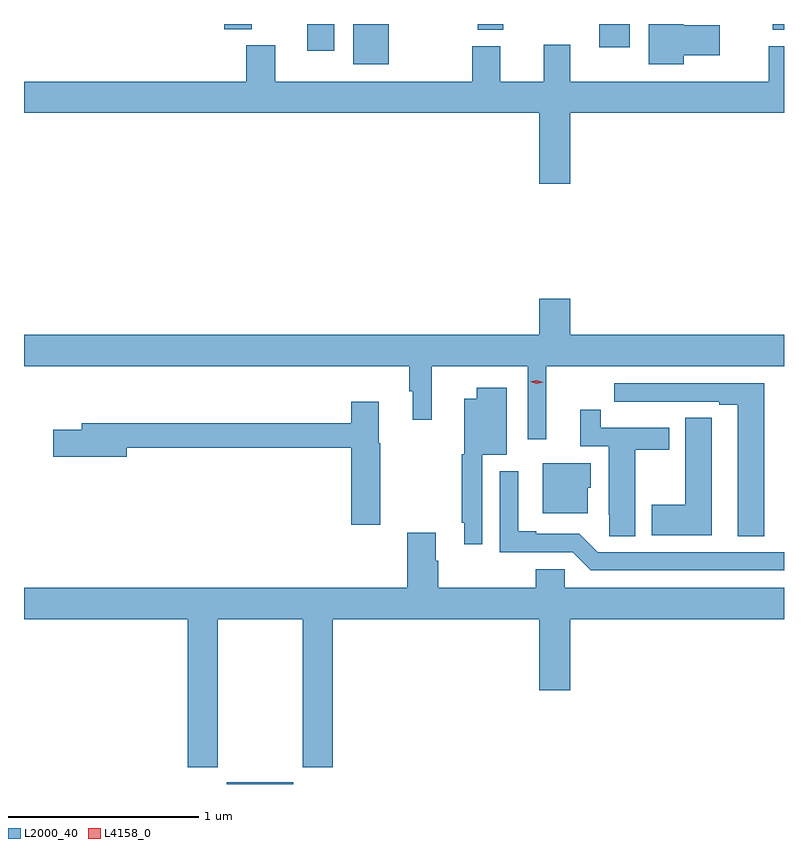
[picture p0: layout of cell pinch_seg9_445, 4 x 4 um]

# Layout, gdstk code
import gdstk
lib = gdstk.Library(unit=1e-6, precision=1e-09)
def R(c, l, rs):  # rectangles x0, y0, x1, y1
    for r in rs: c.add(gdstk.rectangle(r[:2], r[2:], *l))
def P(c, l, *ps):  # polygons
    for p in ps: c.add(gdstk.Polygon(p, *l))
L2000_40 = (2000, 40)
L4158_0 = (4158, 0)

pinch_seg9_445 = lib.new_cell('pinch_seg9_445')
R(pinch_seg9_445, L2000_40, [(151.376,1203.544,151.726,1203.553), (152.042,1207.331,152.227,1207.544), (151.799,1207.404,151.942,1207.544), (153.335,1207.422,153.496,1207.544), (152.696,1207.513,152.83,1207.544), (154.25,1207.513,154.308,1207.544), (151.361,1207.517,151.506,1207.544)])
P(pinch_seg9_445, L2000_40, [(153.781,1207.379),(153.97,1207.379),(153.97,1207.537),(153.781,1207.537),(153.781,1207.544),(153.596,1207.544),(153.596,1207.331),(153.781,1207.331)],
  [(153.184,1207.076),(154.308,1207.076),(154.308,1207.428),(154.229,1207.428),(154.229,1207.24),(153.184,1207.24),(153.184,1207.435),(153.044,1207.435),(153.044,1207.24),(152.815,1207.24),(152.815,1207.428),(152.668,1207.428),(152.668,1207.24),(151.63,1207.24),(151.63,1207.432),(151.478,1207.432),(151.478,1207.24),(150.308,1207.24),(150.308,1207.076),(153.02,1207.076),(153.02,1206.702),(153.184,1206.702)],
  [(153.056,1205.744),(154.308,1205.744),(154.308,1205.908),(153.184,1205.908),(153.184,1206.097),(153.02,1206.097),(153.02,1205.908),(150.308,1205.908),(150.308,1205.744),(152.335,1205.744),(152.335,1205.61),(152.354,1205.61),(152.354,1205.46),(152.454,1205.46),(152.454,1205.744),(152.958,1205.744),(152.958,1205.358),(153.056,1205.358)],
  [(154.204,1205.652),(153.414,1205.652),(153.414,1205.556),(153.526,1205.556),(153.526,1205.555),(153.692,1205.555),(153.692,1205.556),(153.968,1205.556),(153.968,1205.541),(154.064,1205.541),(154.064,1204.849),(154.204,1204.849)],
  [(152.721,1205.276),(152.848,1205.276),(152.848,1205.629),(152.69,1205.629),(152.69,1205.572),(152.624,1205.572),(152.624,1205.28),(152.613,1205.28),(152.613,1204.918),(152.624,1204.918),(152.624,1204.806),(152.721,1204.806)],
  [(152.184,1205.337),(152.176,1205.337),(152.176,1205.557),(152.03,1205.557),(152.03,1205.443),(150.611,1205.443),(150.611,1205.409),(150.462,1205.409),(150.462,1205.267),(150.85,1205.267),(150.85,1205.314),(152.03,1205.314),(152.03,1204.908),(152.184,1204.908)],
  [(153.526,1205.302),(153.703,1205.302),(153.703,1205.418),(153.344,1205.418),(153.344,1205.515),(153.236,1205.515),(153.236,1205.322),(153.386,1205.322),(153.386,1204.96),(153.387,1204.96),(153.387,1204.849),(153.526,1204.849)],
  [(153.928,1205.363),(153.927,1205.363),(153.927,1205.471),(153.788,1205.471),(153.788,1205.013),(153.611,1205.013),(153.611,1204.853),(153.928,1204.853)],
  [(153.274,1205.103),(153.292,1205.103),(153.292,1205.233),(153.038,1205.233),(153.038,1204.97),(153.274,1204.97)],
  [(154.308,1204.764),(153.327,1204.764),(153.231,1204.86),(153.004,1204.86),(153.004,1204.873),(152.908,1204.873),(152.908,1205.191),(152.811,1205.191),(152.811,1204.764),(153.195,1204.764),(153.291,1204.668),(154.308,1204.668)],
  [(150.308,1204.412),(151.169,1204.412),(151.169,1203.633),(151.329,1203.633),(151.329,1204.412),(151.774,1204.412),(151.774,1203.633),(151.934,1203.633),(151.934,1204.412),(153.02,1204.412),(153.02,1204.038),(153.184,1204.038),(153.184,1204.412),(154.308,1204.412),(154.308,1204.576),(153.153,1204.576),(153.153,1204.674),(153.002,1204.674),(153.002,1204.576),(152.489,1204.576),(152.489,1204.718),(152.476,1204.718),(152.476,1204.867),(152.324,1204.867),(152.324,1204.576),(150.308,1204.576)])
P(pinch_seg9_445, L4158_0, [(153.006,1205.65),(152.972,1205.66),(152.971,1205.66),(152.972,1205.66),(153.006,1205.67),(153.041,1205.659),(153.041,1205.659),(153.041,1205.659)])

lib.write_gds('pinch_seg9_445.gds')
